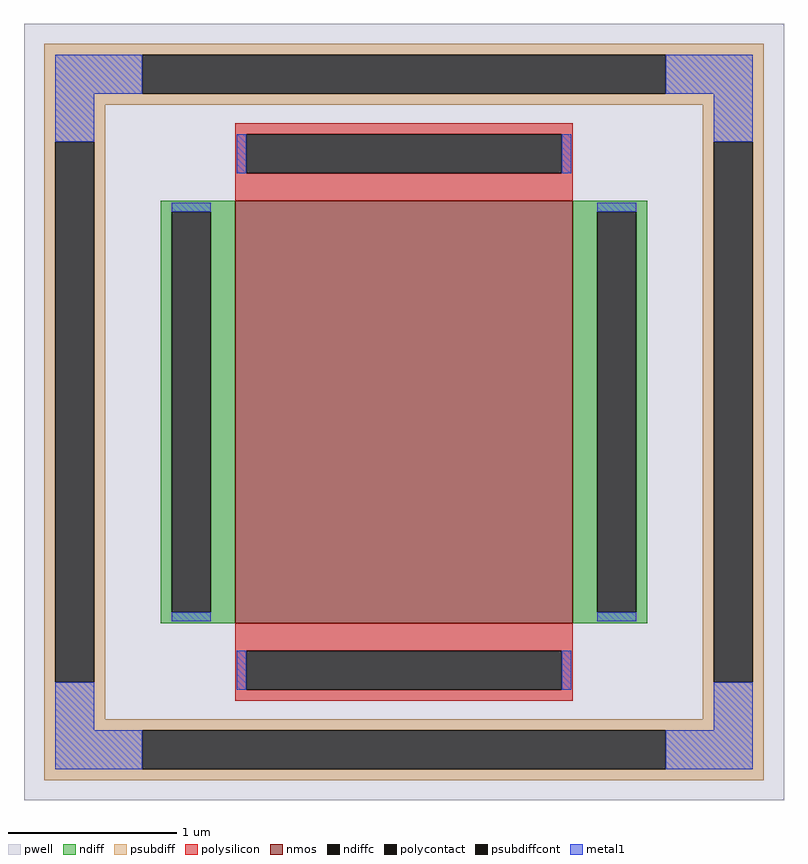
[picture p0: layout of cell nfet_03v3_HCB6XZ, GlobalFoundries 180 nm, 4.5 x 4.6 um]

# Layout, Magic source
magic
tech gf180mcuD
magscale 1 10
<< pwell >>
rect -450 -460 450 460
<< nmos >>
rect -200 -250 200 250
<< ndiff >>
rect -288 237 -200 250
rect -288 -237 -275 237
rect -229 -237 -200 237
rect -288 -250 -200 -237
rect 200 237 288 250
rect 200 -237 229 237
rect 275 -237 288 237
rect 200 -250 288 -237
<< ndiffc >>
rect -275 -237 -229 237
rect 229 -237 275 237
<< psubdiff >>
rect -426 423 426 436
rect -426 377 -310 423
rect 310 377 426 423
rect -426 364 426 377
rect -426 320 -354 364
rect -426 -320 -413 320
rect -367 -320 -354 320
rect 354 320 426 364
rect -426 -364 -354 -320
rect 354 -320 367 320
rect 413 -320 426 320
rect 354 -364 426 -320
rect -426 -377 426 -364
rect -426 -423 -310 -377
rect 310 -423 426 -377
rect -426 -436 426 -423
<< psubdiffcont >>
rect -310 377 310 423
rect -413 -320 -367 320
rect 367 -320 413 320
rect -310 -423 310 -377
<< polysilicon >>
rect -200 329 200 342
rect -200 283 -187 329
rect 187 283 200 329
rect -200 250 200 283
rect -200 -283 200 -250
rect -200 -329 -187 -283
rect 187 -329 200 -283
rect -200 -342 200 -329
<< polycontact >>
rect -187 283 187 329
rect -187 -329 187 -283
<< metal1 >>
rect -413 377 -310 423
rect 310 377 413 423
rect -413 320 -367 377
rect -198 283 -187 329
rect 187 283 198 329
rect 367 320 413 377
rect -275 237 -229 248
rect -275 -248 -229 -237
rect 229 237 275 248
rect 229 -248 275 -237
rect -413 -377 -367 -320
rect -198 -329 -187 -283
rect 187 -329 198 -283
rect 367 -377 413 -320
rect -413 -423 -310 -377
rect 310 -423 413 -377
<< properties >>
string FIXED_BBOX -390 -400 390 400
string gencell nfet_03v3
string library gf180mcu
string parameters w 2.5 l 2 m 1 nf 1 diffcov 100 polycov 100 guard 1 glc 1 grc 1 gtc 1 gbc 1 tbcov 100 rlcov 100 topc 1 botc 1 poverlap 0 doverlap 1 lmin 0.28 wmin 0.22 class mosfet full_metal 1 compatible {nfet_03v3 nfet_05v0 nfet_06v0 nfet_06v0_nvt}
<< end >>
